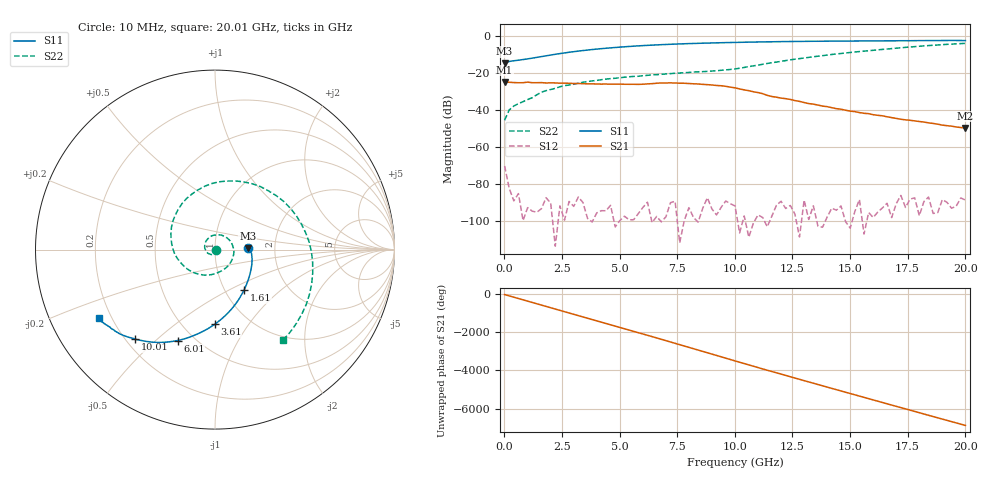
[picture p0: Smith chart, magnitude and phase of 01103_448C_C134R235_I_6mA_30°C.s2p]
!;Filter: kein Filter
!auto
!3/21/2019 9:27:54 AM
!3/21/2019 9:28:10 AM
!SP-Measurements Prober G4
!SP-Measurements Prober G4
!01103_448C
!134
!235
!12
!30
!-20
!0.00599970
!2.02
!0.74959551
!0.74959551
# Hz S  RI  R 50
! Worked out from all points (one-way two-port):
!   101 points, 10 MHz to 20.01 GHz, reference 50 ohm
!   highest |S21| = -24.86 dB at 10 MHz (marker M1); lowest = -49.8 dB at 20.01 GHz (marker M2)
!   lowest |S11| = -14.8 dB at 10 MHz (marker M3), VSWR 1.45, Z = 72.4 + j1.13 ohm
!   |S11| at or under -10 dB: start of sweep to 2.173 GHz
!   |S22| runs from -45.6 to -4.0 dB; largest |S21 - S12| = 0.057
!   S11 on the Smith chart (normalised r, x): 10 MHz: 1.45, +0.02; 1.61 GHz: 1.23, -0.60; 3.61 GHz: 0.70, -0.71; 6.01 GHz: 0.41, -0.59; 10.01 GHz: 0.24, -0.43; 20.01 GHz: 0.15, -0.27
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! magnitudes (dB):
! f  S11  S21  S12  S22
! 10 MHz  -14.8  -24.9  -70.3  -45.6
! 210 MHz  -13.8  -25.1  -82.5  -40.0
! 410 MHz  -13.4  -25.2  -89.3  -37.9
! 1.01 GHz  -12.4  -25.0  -92.9  -34.4
! 1.21 GHz  -12.0  -25.3  -94.8  -33.4
! 1.61 GHz  -11.2  -25.2  -93.4  -30.4
! 2.61 GHz  -9.2  -25.5  -99.7  -26.9
! 3.41 GHz  -7.9  -25.8  -90.1  -25.1
! 3.61 GHz  -7.6  -25.9  -98.7  -24.6
! 4.41 GHz  -6.7  -26.0  -94.6  -23.3
! 6.01 GHz  -5.2  -26.1  -92.8  -21.5
! 6.81 GHz  -4.7  -25.4  -100.6  -20.8
! 8.41 GHz  -4.0  -26.0  -100.8  -19.4
! 9.41 GHz  -3.7  -26.9  -92.7  -18.6
! 10.01 GHz  -3.5  -28.1  -92.0  -17.8
! 11.01 GHz  -3.3  -30.6  -96.9  -15.8
! 11.61 GHz  -3.1  -32.8  -97.5  -14.5
! 12.41 GHz  -3.0  -34.3  -91.8  -12.9
! 13.41 GHz  -2.9  -36.9  -91.9  -11.3
! 15.01 GHz  -2.7  -40.7  -104.0  -8.9
! 16.81 GHz  -2.6  -44.2  -98.3  -6.8
! 20.01 GHz  -2.5  -49.8  -88.8  -4.0
